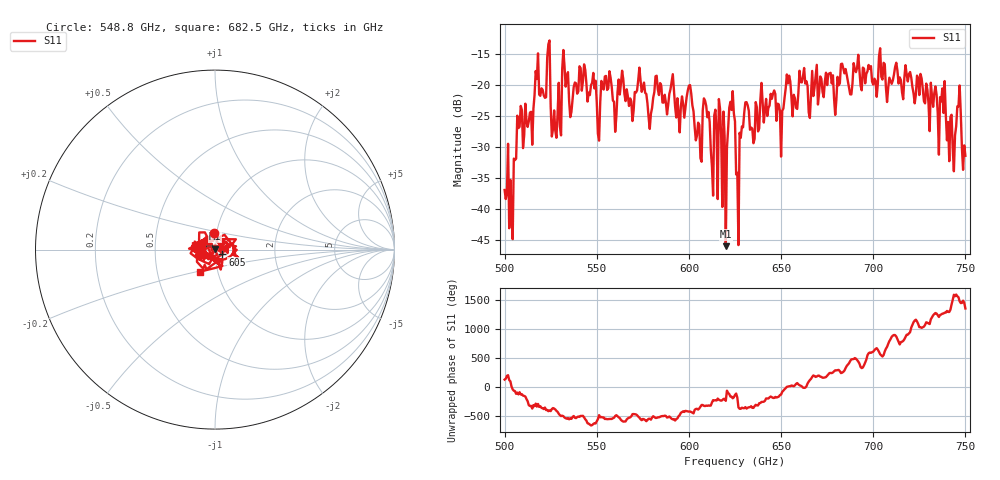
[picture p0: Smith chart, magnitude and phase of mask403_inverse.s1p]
!Created with skrf (http://scikit-rf.org).
# GHz S MA R 50.0
!freq magS11 angS11
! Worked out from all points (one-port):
!   401 points, 500 GHz to 750 GHz, reference 50 ohm
!   lowest |S11| = -45.9 dB at 620 GHz (marker M1), VSWR 1.01, Z = 49.8 + j0.446 ohm
!   |S11| at or under -10 dB: start of sweep to end of sweep
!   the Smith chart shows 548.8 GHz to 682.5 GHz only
!   S11 on the Smith chart (normalised r, x): 548.8 GHz: 0.98, +0.18; 605 GHz: 1.09, -0.06; 682.5 GHz: 0.83, -0.21
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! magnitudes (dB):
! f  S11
! 500 GHz  -36.9
! 503.8 GHz  -41.0
! 508.1 GHz  -26.7
! 513.8 GHz  -24.5
! 517.5 GHz  -19.1
! 523.8 GHz  -13.5
! 526.9 GHz  -24.1
! 531.2 GHz  -17.5
! 548.8 GHz  -20.6
! 562.5 GHz  -21.6
! 593.8 GHz  -22.2
! 600 GHz  -20.1
! 605 GHz  -26.1
! 609.4 GHz  -23.4
! 611.9 GHz  -30.5
! 620 GHz  -45.9
! 623.1 GHz  -24.0
! 625 GHz  -25.9
! 626.9 GHz  -45.7
! 631.2 GHz  -22.8
! 656.2 GHz  -25.1
! 682.5 GHz  -16.7
! 687.5 GHz  -21.5
! 718.8 GHz  -19.5
! 737.5 GHz  -20.6
! 742.5 GHz  -24.8
! 746.2 GHz  -23.5
! 750 GHz  -31.4
